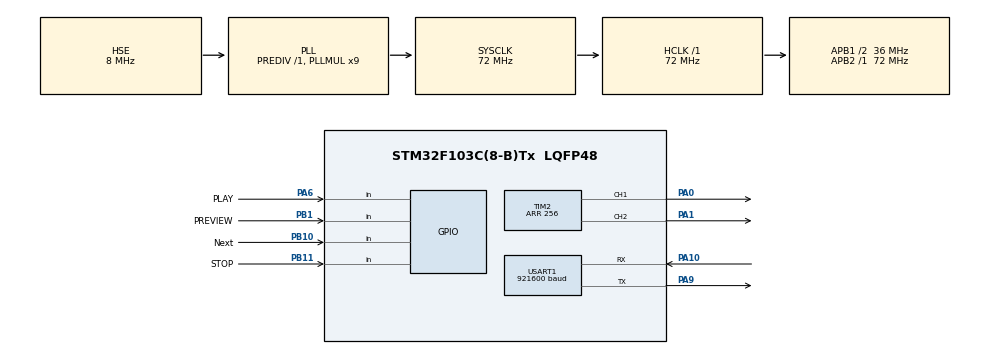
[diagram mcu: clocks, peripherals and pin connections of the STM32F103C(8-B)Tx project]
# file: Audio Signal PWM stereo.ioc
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Dma.Request0=TIM4_CH1
Dma.Request1=TIM4_CH2
Dma.Request2=USART1_RX
Dma.TIM4_CH1.0.Direction=DMA_MEMORY_TO_PERIPH
Dma.TIM4_CH1.0.Instance=DMA1_Channel1
Dma.TIM4_CH1.0.MemDataAlignment=DMA_MDATAALIGN_BYTE
Dma.TIM4_CH1.0.MemInc=DMA_MINC_ENABLE
Dma.TIM4_CH1.0.Mode=DMA_NORMAL
Dma.TIM4_CH1.0.PeriphDataAlignment=DMA_PDATAALIGN_WORD
Dma.TIM4_CH1.0.PeriphInc=DMA_PINC_DISABLE
Dma.TIM4_CH1.0.Priority=DMA_PRIORITY_MEDIUM
Dma.TIM4_CH2.1.Direction=DMA_MEMORY_TO_PERIPH
Dma.TIM4_CH2.1.Instance=DMA1_Channel4
Dma.TIM4_CH2.1.MemDataAlignment=DMA_MDATAALIGN_BYTE
Dma.TIM4_CH2.1.MemInc=DMA_MINC_ENABLE
Dma.TIM4_CH2.1.Mode=DMA_NORMAL
Dma.TIM4_CH2.1.PeriphDataAlignment=DMA_PDATAALIGN_WORD
Dma.TIM4_CH2.1.PeriphInc=DMA_PINC_DISABLE
Dma.TIM4_CH2.1.Priority=DMA_PRIORITY_MEDIUM
Dma.USART1_RX.2.Direction=DMA_PERIPH_TO_MEMORY
Dma.USART1_RX.2.Instance=DMA1_Channel5
Dma.USART1_RX.2.MemDataAlignment=DMA_MDATAALIGN_BYTE
Dma.USART1_RX.2.MemInc=DMA_MINC_ENABLE
Dma.USART1_RX.2.Mode=DMA_NORMAL
Dma.USART1_RX.2.PeriphDataAlignment=DMA_PDATAALIGN_BYTE
Dma.USART1_RX.2.PeriphInc=DMA_PINC_DISABLE
Dma.USART1_RX.2.Priority=DMA_PRIORITY_VERY_HIGH
Mcu.Family=STM32F1
Mcu.Name=STM32F103C(8-B)Tx
Mcu.Package=LQFP48
NVIC.DMA1_Channel1_IRQn=true\:0\:0\:false\:false\:true\:false\:true
NVIC.DMA1_Channel4_IRQn=true\:0\:0\:false\:false\:true\:false\:true
NVIC.DMA1_Channel5_IRQn=true\:0\:0\:false\:false\:true\:false\:true
NVIC.PriorityGroup=NVIC_PRIORITYGROUP_4
NVIC.USART1_IRQn=true\:0\:0\:false\:false\:true\:true\:true
PA0-WKUP.Signal=S_TIM2_CH1_ETR
PA1.Signal=S_TIM2_CH2
PA10.Mode=Asynchronous
PA10.Signal=USART1_RX
PA6.GPIO_Label=PLAY
PA6.Signal=GPIO_Input
PA9.Mode=Asynchronous
PA9.Signal=USART1_TX
PB1.GPIO_Label=PREVIEW
PB1.Signal=GPIO_Input
PB10.GPIO_Label=Next
PB10.Signal=GPIO_Input
PB11.GPIO_Label=STOP
PB11.Signal=GPIO_Input
PD0-OSC_IN.Mode=HSE-External-Oscillator
PD0-OSC_IN.Signal=RCC_OSC_IN
PD1-OSC_OUT.Mode=HSE-External-Oscillator
PD1-OSC_OUT.Signal=RCC_OSC_OUT
ProjectManager.HeapSize=0x200
ProjectManager.StackSize=0x400
ProjectManager.TargetToolchain=STM32CubeIDE
RCC.AHBFreq_Value=72000000
RCC.APB1CLKDivider=RCC_HCLK_DIV2
RCC.APB1Freq_Value=36000000
RCC.APB1TimFreq_Value=72000000
RCC.APB2Freq_Value=72000000
RCC.APB2TimFreq_Value=72000000
RCC.HCLKFreq_Value=72000000
RCC.PLLMUL=RCC_PLL_MUL9
RCC.PLLSourceVirtual=RCC_PLLSOURCE_HSE
RCC.SYSCLKFreq_VALUE=72000000
RCC.SYSCLKSource=RCC_SYSCLKSOURCE_PLLCLK
RCC.USBFreq_Value=72000000
SH.S_TIM2_CH1_ETR.0=TIM2_CH1,PWM Generation1 CH1
SH.S_TIM2_CH2.0=TIM2_CH2,PWM Generation2 CH2
TIM2.AutoReloadPreload=TIM_AUTORELOAD_PRELOAD_ENABLE
TIM2.Channel-PWM\ Generation1\ CH1=TIM_CHANNEL_1
TIM2.Channel-PWM\ Generation2\ CH2=TIM_CHANNEL_2
TIM2.Period=256
TIM2.Pulse-PWM\ Generation1\ CH1=128
TIM2.Pulse-PWM\ Generation2\ CH2=128
TIM4.Channel-Output\ Compare1\ No\ Output=TIM_CHANNEL_1
TIM4.Channel-Output\ Compare2\ No\ Output=TIM_CHANNEL_2
TIM4.Period=181-1
TIM4.Prescaler=72-1
USART1.BaudRate=921600
USART1.VirtualMode=VM_ASYNC
VP_SYS_VS_ND.Mode=No_Debug
VP_TIM4_VS_ClockSourceINT.Mode=Internal
VP_TIM4_VS_no_output1.Mode=Output Compare1 No Output
VP_TIM4_VS_no_output2.Mode=Output Compare2 No Output
board=custom

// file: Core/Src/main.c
/* USER CODE BEGIN Header */
/**
 ******************************************************************************
 * @file           : main.c
 * @brief          : Main program body
 ******************************************************************************
 * @attention
 *
 * <h2><center>&copy; Copyright (c) 2021 STMicroelectronics.
 * All rights reserved.</center></h2>
 *
 * This software component is licensed by ST under BSD 3-Clause license,
 * the "License"; You may not use this file except in compliance with the
 * License. You may obtain a copy of the License at:
 *                        opensource.org/licenses/BSD-3-Clause
 *
 ******************************************************************************
 */
/* USER CODE END Header */
#include "main.h"

/* USER CODE BEGIN PTD */

/*
 *https://ccrma.stanford.edu/courses/422-winter-2014/projects/WaveFormat/
Offset  Size  Name             Description

The canonical WAVE format starts with the RIFF header:

0         4   ChunkID          Contains the letters "RIFF" in ASCII form
                               (0x52494646 big-endian form).
4         4   ChunkSize        36 + SubChunk2Size, or more precisely:
                               4 + (8 + SubChunk1Size) + (8 + SubChunk2Size)
                               This is the size of the rest of the chunk
                               following this number.  This is the size of the
                               entire file in bytes minus 8 bytes for the
                               two fields not included in this count:
                               ChunkID and ChunkSize.
8         4   Format           Contains the letters "WAVE"
                               (0x57415645 big-endian form).

The "WAVE" format consists of two subchunks: "fmt " and "data":
The "fmt " subchunk describes the sound data's format:

12        4   Subchunk1ID      Contains the letters "fmt "
                               (0x666d7420 big-endian form).
16        4   Subchunk1Size    16 for PCM.  This is the size of the
                               rest of the Subchunk which follows this number.
20        2   AudioFormat      PCM = 1 (i.e. Linear quantization)
                               Values other than 1 indicate some
                               form of compression.
22        2   NumChannels      Mono = 1, Stereo = 2, etc.
24        4   SampleRate       8000, 44100, etc.
28        4   ByteRate         == SampleRate * NumChannels * BitsPerSample/8
32        2   BlockAlign       == NumChannels * BitsPerSample/8
                               The number of bytes for one sample including
                               all channels. I wonder what happens when
                               this number isn't an integer?
34        2   BitsPerSample    8 bits = 8, 16 bits = 16, etc.
          2   ExtraParamSize   if PCM, then doesn't exist
          X   ExtraParams      space for extra parameters

The "data" subchunk contains the size of the data and the actual sound:

36        4   Subchunk2ID      Contains the letters "data"
                               (0x64617461 big-endian form).
40        4   Subchunk2Size    == NumSamples * NumChannels * BitsPerSample/8
                               This is the number of bytes in the data.
                               You can also think of this as the size
                               of the read of the subchunk following this
                               number.
44        *   Data             The actual sound data.
 * */

typedef struct{
	uint8_t RIFF_ID [4]; // "riff"
	int SIZE; //
	uint8_t WAV_ID [4]; // "WAVE"
	uint8_t FMT_ID [4]; // "fmt id"
	int FMT_SZ; 		// fmt
	int FORMAT; 		//
	short CHANNELS; 	// Channels
	int SampleRate; 	// Sample per second
	int ByteRate; 		// Average Byte per second
	short BLOCK_SZ; 	// CHANNELS * (BIT>>3)
	short BitsPerSample; // BITS
	uint8_t DATA_ID [4]; // "data"
	int DATA_SZ; //

}WavHeader_typedef;

/* USER CODE END PTD */

/* USER CODE BEGIN PD */
#define BLOCK 4096
/* USER CODE END PD */

TIM_HandleTypeDef htim2;
TIM_HandleTypeDef htim4;
DMA_HandleTypeDef hdma_tim4_ch1;
DMA_HandleTypeDef hdma_tim4_ch2;

UART_HandleTypeDef huart1;
DMA_HandleTypeDef hdma_usart1_rx;

/* USER CODE BEGIN PV */
volatile uint8_t fp = 0;
volatile int NumOfBLOCK = 0;
volatile uint8_t btn_flag = 1;
uint8_t Left[2][BLOCK/2];
uint8_t Right[2][BLOCK/2];
uint8_t Wave[2][BLOCK];
uint8_t WaveHeaderbuff[46];
WavHeader_typedef headerInfo;
volatile uint8_t EndOffle_flag = 0;

/* USER CODE END PV */

void SystemClock_Config(void);
static void MX_GPIO_Init(void);
static void MX_DMA_Init(void);
static void MX_TIM2_Init(void);
static void MX_TIM4_Init(void);
static void MX_USART1_UART_Init(void);
/* USER CODE BEGIN PFP */
void Stop(void);
void play(void);
void pause(void);
void Next(void);
void Preview(void);
void clearBuff(void);
void GetHeaderInfo(WavHeader_typedef *Out_WavHeaderInfo ,uint8_t *pInput);
/* USER CODE END PFP */

/* USER CODE BEGIN 0 */
void MyEvent1(DMA_HandleTypeDef *_hdma){

	NumOfBLOCK++;
	if((int)(headerInfo.DATA_SZ/(BLOCK)) <= (int)(NumOfBLOCK))
	{
		EndOffle_flag = 1;
	}
	else
	{
		fp = 1-fp;

		// Convert data to PWM For Audio Signal
		HAL_DMA_Abort(&hdma_tim4_ch1);
		HAL_DMA_Start_IT(&hdma_tim4_ch1, (uint32_t)Right[1-fp], (uint32_t) &(TIM2->CCR1), BLOCK/2);

		HAL_DMA_Abort(&hdma_tim4_ch2);
		HAL_DMA_Start_IT(&hdma_tim4_ch2, (uint32_t)Left[1-fp], (uint32_t) &(TIM2->CCR2), BLOCK/2);

		// Get Next BLOCK Data From UART
		HAL_UART_Receive_DMA(&huart1, Wave[fp], BLOCK);
		HAL_UART_Transmit(&huart1, (uint8_t *)"A", 1, 100);

		// Extract Left/Right Channel Data
		for(int i=0 ,j=0 ;i<BLOCK ;i+=2 ,j++){
			Right[fp][j] = Wave[fp][i];//right channel
			Left[fp][j] = Wave[fp][i+1];//left channel
		}
	}
}

void MyEvent2(DMA_HandleTypeDef *_hdma){

}

void MyEvent3(DMA_HandleTypeDef *_hdma){
	/* 4096 2048*/
	if(NumOfBLOCK==0){
		for(int i=0 ,j=0 ;i<BLOCK ;i+=2 ,j++){
			Right[fp][j] = Wave[fp][i];//right channel
			Left[fp][j] = Wave[fp][i+1];//left channel
		}
	}
}

void Stop(void){
	btn_flag = 1;
	HAL_UART_Transmit(&huart1, (uint8_t *)"C", 1, 100);

	HAL_Delay(100);

	clearBuff();

	HAL_UART_DMAStop(&huart1);
	NumOfBLOCK=0;
	TIM_CCxChannelCmd(TIM2, TIM_CHANNEL_1, TIM_CCx_DISABLE);
	TIM_CCxChannelCmd(TIM2, TIM_CHANNEL_2, TIM_CCx_DISABLE);
	HAL_DMA_Abort(&hdma_tim4_ch1);
	HAL_DMA_Abort(&hdma_tim4_ch2);

}

void play(void){

	/**************************get WavHeader Info*******************/
	if(NumOfBLOCK == 0)
	{
		HAL_UART_Transmit(&huart1, (uint8_t *)"B", 1, 10);
		HAL_UART_Receive_DMA(&huart1, WaveHeaderbuff, 45 );

		HAL_Delay(100);

		GetHeaderInfo(&headerInfo, WaveHeaderbuff);

		if(headerInfo.SampleRate == 8000) {
			TIM4->PSC = 72-1;
			TIM4->ARR = 125-1;
		}
		else if(headerInfo.SampleRate == 11025) {
			TIM4->PSC = 72-1;
			TIM4->ARR = 91-1;
		}
		else if(headerInfo.SampleRate == 16000) {
			TIM4->PSC = 36-1;
			TIM4->ARR = 125-1;
		}
		else if(headerInfo.SampleRate == 22050) {
			TIM4->PSC = 9-1;
			TIM4->ARR = 363-1;
		}
		else if(headerInfo.SampleRate == 32000) {
			TIM4->PSC = 9-1;
			TIM4->ARR = 250-1;
		}
		if(headerInfo.SampleRate == 44100){
			TIM4->PSC = 9-1;
			TIM4->ARR = 181-1;
		}
		else if(headerInfo.SampleRate == 48000) {
			TIM4->PSC = 9-1;
			TIM4->ARR = 166-1;
		}
	}

	/*****************************get data***************************/

	if(NumOfBLOCK == 0)
	{
		HAL_UART_Receive_DMA(&huart1, Wave[fp], BLOCK);
		HAL_UART_Transmit(&huart1, (uint8_t *)"A", 1, 10);

		HAL_Delay(100);
	}

	fp = 1-fp;

	HAL_UART_Receive_DMA(&huart1, Wave[fp], BLOCK);
	HAL_UART_Transmit(&huart1, (uint8_t *)"A", 1, 10);

	/**************************convert data to PWM*******************/

	TIM_CCxChannelCmd(TIM2, TIM_CHANNEL_1, TIM_CCx_ENABLE);
	HAL_DMA_Start_IT(&hdma_tim4_ch1, (uint32_t)Right[1-fp], (uint32_t) &(TIM2->CCR1), BLOCK/2);
	TIM_CCxChannelCmd(TIM2, TIM_CHANNEL_2, TIM_CCx_ENABLE);
	HAL_DMA_Start_IT(&hdma_tim4_ch2, (uint32_t)Left[1-fp], (uint32_t) &(TIM2->CCR2), BLOCK/2);

}

void pause(void){

	//HAL_UART_DMAStop(&huart1);
	TIM_CCxChannelCmd(TIM2, TIM_CHANNEL_1, TIM_CCx_DISABLE);
	TIM_CCxChannelCmd(TIM2, TIM_CHANNEL_2, TIM_CCx_DISABLE);
	HAL_DMA_Abort(&hdma_tim4_ch1);
	HAL_DMA_Abort(&hdma_tim4_ch2);
}

void Next(void){
	btn_flag=1;
	HAL_UART_Transmit(&huart1, (uint8_t *)"N", 1, 100);

	HAL_Delay(100);

	for(int x=0 ;x<BLOCK ;x++){
		Wave[0][x] = Wave[1][x] = 128; // bitRate/2
	}

	TIM_CCxChannelCmd(TIM2, TIM_CHANNEL_1, TIM_CCx_DISABLE);
	TIM_CCxChannelCmd(TIM2, TIM_CHANNEL_2, TIM_CCx_DISABLE);
	HAL_DMA_Abort(&hdma_tim4_ch1);
	HAL_DMA_Abort(&hdma_tim4_ch2);

	NumOfBLOCK=0;
	play();
}

void Preview(void){
	btn_flag=1;
	HAL_UART_Transmit(&huart1, (uint8_t *)"P", 1, 100);

	HAL_Delay(100);

	for(int x=0 ;x<BLOCK ;x++){
		Wave[0][x] = Wave[1][x] = 128; // bitRate/2
	}

	TIM_CCxChannelCmd(TIM2, TIM_CHANNEL_1, TIM_CCx_DISABLE);
	TIM_CCxChannelCmd(TIM2, TIM_CHANNEL_2, TIM_CCx_DISABLE);
	HAL_DMA_Abort(&hdma_tim4_ch1);
	HAL_DMA_Abort(&hdma_tim4_ch2);

	NumOfBLOCK=0;
	play();
}

void clearBuff(void){
	for(int x=0 ;x<BLOCK ;x++){
		Wave[0][x] = Wave[1][x] = 128;
	}
}

void GetHeaderInfo(WavHeader_typedef *Out_WavHeaderInfo ,uint8_t *pInput){

	Out_WavHeaderInfo->RIFF_ID[0] = WaveHeaderbuff[0];
	Out_WavHeaderInfo->RIFF_ID[1] = WaveHeaderbuff[1];
	Out_WavHeaderInfo->RIFF_ID[2] = WaveHeaderbuff[2];
	Out_WavHeaderInfo->RIFF_ID[3] = WaveHeaderbuff[3];

	//...

	Out_WavHeaderInfo->SampleRate = (WaveHeaderbuff[24])+
			((WaveHeaderbuff[25]) << 8) +
			((WaveHeaderbuff[26]) << 16) +
			((WaveHeaderbuff[27]) << 24) ;

	//...

	Out_WavHeaderInfo->DATA_SZ = (WaveHeaderbuff[40])+
			((WaveHeaderbuff[41]) << 8) +
			((WaveHeaderbuff[42]) << 16) +
			((WaveHeaderbuff[43]) << 24) ;

}
/* USER CODE END 0 */

int main(void)
{

	/* MCU Configuration--------------------------------------------------------*/

	/* Reset of all peripherals, Initializes the Flash interface and the Systick. */
	HAL_Init();

	/* Configure the system clock */
	SystemClock_Config();

	/* Initialize all configured peripherals */
	MX_GPIO_Init();
	MX_DMA_Init();
	MX_TIM2_Init();
	MX_TIM4_Init();
	MX_USART1_UART_Init();
	/* USER CODE BEGIN 2 */

	//stereo
	HAL_TIM_PWM_Start(&htim2,TIM_CHANNEL_1);
	HAL_TIM_PWM_Start(&htim2,TIM_CHANNEL_2);

	//just set before HAL_DMA_Start_IT function
	HAL_DMA_RegisterCallback(&hdma_tim4_ch1, HAL_DMA_XFER_CPLT_CB_ID, &MyEvent1);
	HAL_DMA_RegisterCallback(&hdma_tim4_ch2, HAL_DMA_XFER_CPLT_CB_ID, &MyEvent2);

	HAL_DMA_RegisterCallback(&hdma_usart1_rx, HAL_DMA_XFER_CPLT_CB_ID, &MyEvent3);

	HAL_TIM_OC_Start(&htim4, TIM_CHANNEL_1);
	HAL_TIM_OC_Start(&htim4, TIM_CHANNEL_2);
	__HAL_TIM_ENABLE_DMA(&htim4, TIM_DMA_CC1);
	__HAL_TIM_ENABLE_DMA(&htim4, TIM_DMA_CC2);

	/* USER CODE END 2 */

	/* Infinite loop */
	/* USER CODE BEGIN WHILE */
	while (1)
	{
		if(EndOffle_flag==1){
			EndOffle_flag=0;
			Stop();
			btn_flag = 3;
			play();
		}

		//press Preview button => Preview
		if (HAL_GPIO_ReadPin(PREVIEW_GPIO_Port, PREVIEW_Pin) == GPIO_PIN_RESET) {

			Preview();

			HAL_Delay(200);
		}

		//press Next button => Next
		if (HAL_GPIO_ReadPin(Next_GPIO_Port, Next_Pin) == GPIO_PIN_RESET) {

			Next();

			HAL_Delay(200);
		}

		//press STOP button => STOP
		if (HAL_GPIO_ReadPin(STOP_GPIO_Port, STOP_Pin) == GPIO_PIN_RESET) {

			Stop();

			HAL_Delay(200);
		}

		//press Play/Pause button => Play
		if (HAL_GPIO_ReadPin(PLAY_GPIO_Port, PLAY_Pin) == GPIO_PIN_RESET && btn_flag == 1) {

			btn_flag = 2;
			play();

			HAL_Delay(200);
		}

		//press Play/Pause button => Pause
		if(HAL_GPIO_ReadPin(PLAY_GPIO_Port, PLAY_Pin) == GPIO_PIN_RESET && btn_flag == 3){

			btn_flag = 4;
			pause();

			HAL_Delay(200);
		}

		//release Play/Pause button
		if (HAL_GPIO_ReadPin(PLAY_GPIO_Port, PLAY_Pin) == GPIO_PIN_SET && (btn_flag == 2 || btn_flag == 4)){

			//now play
			if(btn_flag == 2)
				btn_flag = 3;
			//now pause
			else if(btn_flag == 4)
				btn_flag = 1;

			HAL_Delay(200);
		}
		/* USER CODE END WHILE */

	}
}

void SystemClock_Config(void)
{
	RCC_OscInitTypeDef RCC_OscInitStruct = {0};
	RCC_ClkInitTypeDef RCC_ClkInitStruct = {0};

	/** Initializes the RCC Oscillators according to the specified parameters
	 * in the RCC_OscInitTypeDef structure.
	 */
	RCC_OscInitStruct.OscillatorType = RCC_OSCILLATORTYPE_HSE;
	RCC_OscInitStruct.HSEState = RCC_HSE_ON;
	RCC_OscInitStruct.HSEPredivValue = RCC_HSE_PREDIV_DIV1;
	RCC_OscInitStruct.HSIState = RCC_HSI_ON;
	RCC_OscInitStruct.PLL.PLLState = RCC_PLL_ON;
	RCC_OscInitStruct.PLL.PLLSource = RCC_PLLSOURCE_HSE;
	RCC_OscInitStruct.PLL.PLLMUL = RCC_PLL_MUL9;
	if (HAL_RCC_OscConfig(&RCC_OscInitStruct) != HAL_OK)
	{
		Error_Handler();
	}
	/** Initializes the CPU, AHB and APB buses clocks
	 */
	RCC_ClkInitStruct.ClockType = RCC_CLOCKTYPE_HCLK|RCC_CLOCKTYPE_SYSCLK
			|RCC_CLOCKTYPE_PCLK1|RCC_CLOCKTYPE_PCLK2;
	RCC_ClkInitStruct.SYSCLKSource = RCC_SYSCLKSOURCE_PLLCLK;
	RCC_ClkInitStruct.AHBCLKDivider = RCC_SYSCLK_DIV1;
	RCC_ClkInitStruct.APB1CLKDivider = RCC_HCLK_DIV2;
	RCC_ClkInitStruct.APB2CLKDivider = RCC_HCLK_DIV1;

	if (HAL_RCC_ClockConfig(&RCC_ClkInitStruct, FLASH_LATENCY_2) != HAL_OK)
	{
		Error_Handler();
	}
}

static void MX_TIM2_Init(void)
{

	TIM_MasterConfigTypeDef sMasterConfig = {0};
	TIM_OC_InitTypeDef sConfigOC = {0};

	htim2.Instance = TIM2;
	htim2.Init.Prescaler = 0;
	htim2.Init.CounterMode = TIM_COUNTERMODE_UP;
	htim2.Init.Period = 256;
	htim2.Init.ClockDivision = TIM_CLOCKDIVISION_DIV1;
	htim2.Init.AutoReloadPreload = TIM_AUTORELOAD_PRELOAD_ENABLE;
	if (HAL_TIM_PWM_Init(&htim2) != HAL_OK)
	{
		Error_Handler();
	}
	sMasterConfig.MasterOutputTrigger = TIM_TRGO_RESET;
	sMasterConfig.MasterSlaveMode = TIM_MASTERSLAVEMODE_DISABLE;
	if (HAL_TIMEx_MasterConfigSynchronization(&htim2, &sMasterConfig) != HAL_OK)
	{
		Error_Handler();
	}
	sConfigOC.OCMode = TIM_OCMODE_PWM1;
	sConfigOC.Pulse = 128;
	sConfigOC.OCPolarity = TIM_OCPOLARITY_HIGH;
	sConfigOC.OCFastMode = TIM_OCFAST_DISABLE;
	if (HAL_TIM_PWM_ConfigChannel(&htim2, &sConfigOC, TIM_CHANNEL_1) != HAL_OK)
	{
		Error_Handler();
	}
	if (HAL_TIM_PWM_ConfigChannel(&htim2, &sConfigOC, TIM_CHANNEL_2) != HAL_OK)
	{
		Error_Handler();
	}
	HAL_TIM_MspPostInit(&htim2);

}

static void MX_TIM4_Init(void)
{

	TIM_ClockConfigTypeDef sClockSourceConfig = {0};
	TIM_MasterConfigTypeDef sMasterConfig = {0};
	TIM_OC_InitTypeDef sConfigOC = {0};

	htim4.Instance = TIM4;
	htim4.Init.Prescaler = 72-1;
	htim4.Init.CounterMode = TIM_COUNTERMODE_UP;
	htim4.Init.Period = 181-1;
	htim4.Init.ClockDivision = TIM_CLOCKDIVISION_DIV1;
	htim4.Init.AutoReloadPreload = TIM_AUTORELOAD_PRELOAD_DISABLE;
	if (HAL_TIM_Base_Init(&htim4) != HAL_OK)
	{
		Error_Handler();
	}
	sClockSourceConfig.ClockSource = TIM_CLOCKSOURCE_INTERNAL;
	if (HAL_TIM_ConfigClockSource(&htim4, &sClockSourceConfig) != HAL_OK)
	{
		Error_Handler();
	}
	if (HAL_TIM_OC_Init(&htim4) != HAL_OK)
	{
		Error_Handler();
	}
	sMasterConfig.MasterOutputTrigger = TIM_TRGO_RESET;
	sMasterConfig.MasterSlaveMode = TIM_MASTERSLAVEMODE_DISABLE;
	if (HAL_TIMEx_MasterConfigSynchronization(&htim4, &sMasterConfig) != HAL_OK)
	{
		Error_Handler();
	}
	sConfigOC.OCMode = TIM_OCMODE_TIMING;
	sConfigOC.Pulse = 0;
	sConfigOC.OCPolarity = TIM_OCPOLARITY_HIGH;
	sConfigOC.OCFastMode = TIM_OCFAST_DISABLE;
	if (HAL_TIM_OC_ConfigChannel(&htim4, &sConfigOC, TIM_CHANNEL_1) != HAL_OK)
	{
		Error_Handler();
	}
	if (HAL_TIM_OC_ConfigChannel(&htim4, &sConfigOC, TIM_CHANNEL_2) != HAL_OK)
	{
		Error_Handler();
	}

}

static void MX_USART1_UART_Init(void)
{

	huart1.Instance = USART1;
	huart1.Init.BaudRate = 921600;
	huart1.Init.WordLength = UART_WORDLENGTH_8B;
	huart1.Init.StopBits = UART_STOPBITS_1;
	huart1.Init.Parity = UART_PARITY_NONE;
	huart1.Init.Mode = UART_MODE_TX_RX;
	huart1.Init.HwFlowCtl = UART_HWCONTROL_NONE;
	huart1.Init.OverSampling = UART_OVERSAMPLING_16;
	if (HAL_UART_Init(&huart1) != HAL_OK)
	{
		Error_Handler();
	}

}

static void MX_DMA_Init(void)
{

	/* DMA controller clock enable */
	__HAL_RCC_DMA1_CLK_ENABLE();

	/* DMA interrupt init */
	/* DMA1_Channel1_IRQn interrupt configuration */
	HAL_NVIC_SetPriority(DMA1_Channel1_IRQn, 0, 0);
	HAL_NVIC_EnableIRQ(DMA1_Channel1_IRQn);
	/* DMA1_Channel4_IRQn interrupt configuration */
	HAL_NVIC_SetPriority(DMA1_Channel4_IRQn, 0, 0);
	HAL_NVIC_EnableIRQ(DMA1_Channel4_IRQn);
	/* DMA1_Channel5_IRQn interrupt configuration */
	HAL_NVIC_SetPriority(DMA1_Channel5_IRQn, 0, 0);
	HAL_NVIC_EnableIRQ(DMA1_Channel5_IRQn);

}

static void MX_GPIO_Init(void)
{
	GPIO_InitTypeDef GPIO_InitStruct = {0};

	/* GPIO Ports Clock Enable */
	__HAL_RCC_GPIOD_CLK_ENABLE();
	__HAL_RCC_GPIOA_CLK_ENABLE();
	__HAL_RCC_GPIOB_CLK_ENABLE();

	/*Configure GPIO pin : PLAY_Pin */
	GPIO_InitStruct.Pin = PLAY_Pin;
	GPIO_InitStruct.Mode = GPIO_MODE_INPUT;
	GPIO_InitStruct.Pull = GPIO_NOPULL;
	HAL_GPIO_Init(PLAY_GPIO_Port, &GPIO_InitStruct);

	/*Configure GPIO pins : PREVIEW_Pin Next_Pin STOP_Pin */
	GPIO_InitStruct.Pin = PREVIEW_Pin|Next_Pin|STOP_Pin;
	GPIO_InitStruct.Mode = GPIO_MODE_INPUT;
	GPIO_InitStruct.Pull = GPIO_NOPULL;
	HAL_GPIO_Init(GPIOB, &GPIO_InitStruct);

}

void Error_Handler(void)
{
}

/************************ (C) COPYRIGHT STMicroelectronics *****END OF FILE****/
